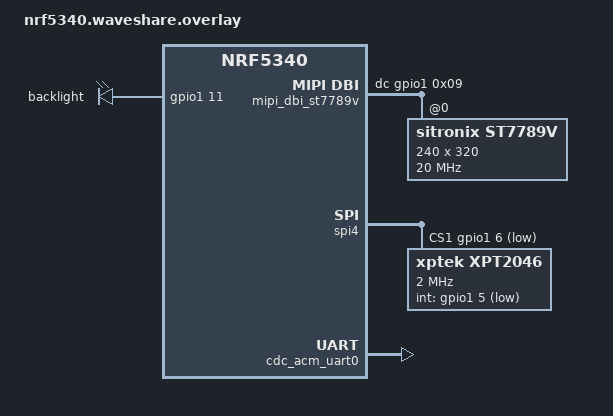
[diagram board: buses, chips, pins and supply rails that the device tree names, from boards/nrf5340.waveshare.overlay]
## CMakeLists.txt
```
cmake_minimum_required(VERSION 3.20.0)
find_package(Zephyr REQUIRED HINTS $ENV{ZEPHYR_BASE})
project(sploosh_kaboom)

zephyr_include_directories(include)
target_sources(app PRIVATE src/logo.c src/main.c)
```

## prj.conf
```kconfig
CONFIG_SPI=y
CONFIG_GPIO=y
CONFIG_REBOOT=y

CONFIG_SHELL=y
CONFIG_SHELL_BACKEND_SERIAL=y
CONFIG_PRINTK=y
CONFIG_BOOT_BANNER=n
CONFIG_SHELL_PROMPT_UART="$"
CONFIG_SHELL_MINIMAL=y
CONFIG_SHELL_TAB=y
CONFIG_SHELL_TAB_AUTOCOMPLETION=y
CONFIG_SHELL_HISTORY=y

CONFIG_USB_CDC_ACM=y
CONFIG_USB_DEVICE_STACK=y
CONFIG_USB_DEVICE_STACK_NEXT=n
CONFIG_USB_DEVICE_PRODUCT="SPLOOSH"
CONFIG_USB_DEVICE_MANUFACTURER="KABOOM"
CONFIG_USB_DEVICE_PID=0x1d50
CONFIG_USB_DEVICE_VID=0x1915
CONFIG_USB_DEVICE_SN="20250314"

CONFIG_SERIAL=y
CONFIG_UART_LINE_CTRL=y
CONFIG_SHELL_BACKEND_SERIAL_INIT_PRIORITY=99

CONFIG_ENTROPY_GENERATOR=y
CONFIG_TEST_RANDOM_GENERATOR=y

CONFIG_DISPLAY=y
CONFIG_ST7789V=y
CONFIG_ST7789V_RGB565=y

CONFIG_MIPI_DBI=y
CONFIG_MIPI_DBI_SPI=y
CONFIG_LV_Z_BITS_PER_PIXEL=16
CONFIG_LV_COLOR_16_SWAP=y

CONFIG_INPUT=y
CONFIG_INPUT_XPT2046=y

CONFIG_MAIN_STACK_SIZE=4096
CONFIG_HEAP_MEM_POOL_SIZE=32768

CONFIG_LV_Z_MEM_POOL_SIZE=32768
CONFIG_LVGL=y
CONFIG_LV_USE_LOG=n
CONFIG_LV_USE_LABEL=y
CONFIG_LV_USE_ARC=y
CONFIG_LV_USE_MONKEY=n
CONFIG_LV_FONT_MONTSERRAT_18=y
CONFIG_LV_COLOR_DEPTH_16=y

CONFIG_LOG=n
CONFIG_ASSERT=n
CONFIG_LV_LOG_LEVEL_INFO=n

CONFIG_STACK_SENTINEL=n
CONFIG_THREAD_STACK_INFO=y
```

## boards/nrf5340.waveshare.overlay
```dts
#include <zephyr/dt-bindings/gpio/gpio.h>
#include <zephyr/dt-bindings/mipi_dbi/mipi_dbi.h>
#include <zephyr/dt-bindings/gpio/arduino-header-r3.h>
/ {
    chosen {
        zephyr,display = &st7789v;
        zephyr,console = &cdc_acm_uart0;
        zephyr,shell-uart = &cdc_acm_uart0;
    };
    
    aliases {
        bl = &backlight;
    };
    
    leds {
        compatible = "gpio-leds";
        backlight: backlight-led {
            gpios = <&gpio1 11 GPIO_ACTIVE_HIGH>;
        };
    };
    
    pwmleds {
        compatible = "pwm-leds";
    };
    
    mipi_dbi_st7789v {
        compatible = "zephyr,mipi-dbi-spi";
        spi-dev = <&spi4>;
        dc-gpios = <&gpio1 0x09 GPIO_ACTIVE_HIGH>;
        
        write-only;
        
        #address-cells = <1>;
        #size-cells = <0>;
        
        st7789v: st7789v@0 {
            compatible = "sitronix,st7789v";
            mipi-max-frequency = <DT_FREQ_M(20)>;
            reg = <0>;
            x-offset    = <0>;
            y-offset    = <0>;
            width       = <240>;
            height      = <320>;
            vcom = <0x19>;
            gctrl = <0x35>;
            vrhs = <0x12>;
            vdvs = <0x20>;
            mdac = <0xc0>;
            gamma = <0x01>;
            colmod = <0x55>;
            lcm = <0x2c>;
            porch-param = [0c 0c 00 33 33];
            cmd2en-param = [5a 69 02 01];
            pwctrl1-param = [a4 a1];
            pvgam-param = [D0 04 0D 11 13 2B 3F 54 4C 18 0D 0B 1F 23];
            nvgam-param = [D0 04 0C 11 13 2C 3F 44 51 2F 1F 1F 20 23];
            ram-param = [00 F0];
            rgb-param = [CD 08 14];
            mipi-mode = "MIPI_DBI_MODE_SPI_4WIRE";
            
        };
    };
};

/ {
    chosen {
        zephyr,touch = &xpt2046;
    };
    
    lvgl_pointer {
        compatible ="zephyr,lvgl-pointer-input";
        input = <&xpt2046>;
    };
    
};

&spi4 {
    status = "okay";
    cs-gpios = <
    &gpio1 12 GPIO_ACTIVE_LOW   /* CS0 */
    &gpio1 6 GPIO_ACTIVE_LOW   /* CS1 */
    >;
    
    xpt2046: xpt2046@1 {
        compatible = "xptek,xpt2046";
        reg=<1>;
        int-gpios = <&gpio1 5 GPIO_ACTIVE_LOW>; 
        touchscreen-size-x = <240>;
        touchscreen-size-y = <320>;
        min-x = <0>;
        min-y = <0>;
        max-x = <4000>;
        max-y = <4000>;
        spi-max-frequency = <2000000>;
        status = "okay";
    };
};

&spi4_default {
    group1 {
        psels = <NRF_PSEL(SPIM_SCK, 1, 15)>,
        <NRF_PSEL(SPIM_MISO, 1, 14)>,
        <NRF_PSEL(SPIM_MOSI, 1, 13)>,
        <NRF_PSEL(SPIM_CSN, 1, 12)>;
    };
};

&spi4_sleep {
    group1 {
        psels = <NRF_PSEL(SPIM_SCK, 1, 15)>,
        <NRF_PSEL(SPIM_MISO, 1, 14)>,
        <NRF_PSEL(SPIM_MOSI, 1, 13)>,
        <NRF_PSEL(SPIM_CSN, 1, 12)>;
    };
};

&zephyr_udc0 {
    cdc_acm_uart0: cdc_acm_uart0 {
        compatible = "zephyr,cdc-acm-uart";
    };
};
```

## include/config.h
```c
/* Bit flags for each board cell */
#define FLAG_SHIP   0x01
#define FLAG_GHOST  0x02
#define FLAG_PROBED 0x04
#define FLAG_HIT    0x08

#define MAX_SHOTS   16
#define GH_ESCAPE   4

/* CELL definition*/
#define NB_CELLS 24
#define CELLS_PX 8
#define MAX_CELLS   (NB_CELLS * NB_CELLS)

/* COLOR for FIRE button */
#define FIRE_COLOR_DISABLED 0x303030
#define FIRE_COLOR_READY    0xFF0000

#define INFO    0x4ef542
#define ERROR   0xFFAC1C
#define OPTION  0xFFAC1C
#define WARNING 0xD12300

#define COL_SPLOOSH 0xFFAC1C
#define COL_KABOOM 0xff2200
#define COL_INFO 0xA80088

/* forward declarations */
static void update_fire_button_state(void);
static void field_focus_event_cb(lv_event_t *e);
static void handle_shot(uint8_t row, uint8_t col, const struct shell *sh);
static void handle_shot_ui(uint8_t row, uint8_t col);
```

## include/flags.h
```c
const char FLAG_1[] = "PH0WN{wh4t_4_W4ste_0f_Rhum}";
const char FLAG_2[] = "PH0WN{Wh0_y0u_w4nn4_c4ll_?}";
```

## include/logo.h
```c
#include <lvgl.h>

extern const lv_image_dsc_t logo;
```
